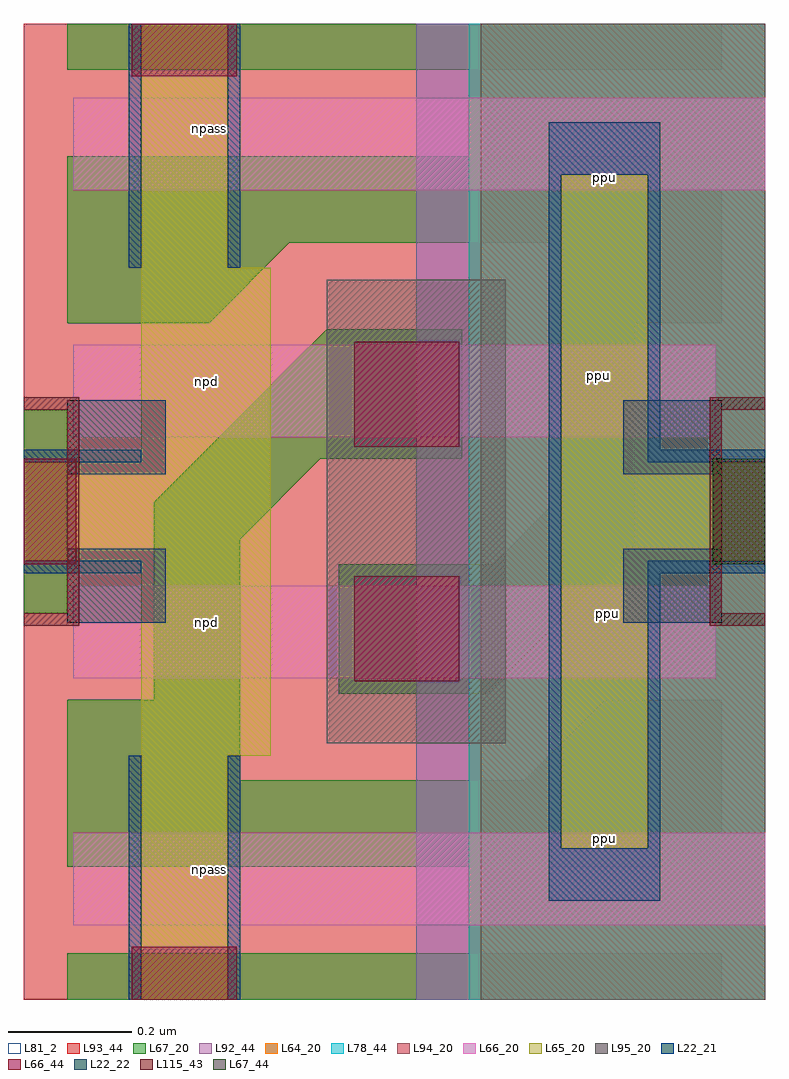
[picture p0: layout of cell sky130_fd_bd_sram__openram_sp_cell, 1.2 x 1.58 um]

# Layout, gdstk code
import gdstk
lib = gdstk.Library(unit=1e-6, precision=1e-09)
def R(c, l, rs):  # rectangles x0, y0, x1, y1
    for r in rs: c.add(gdstk.rectangle(r[:2], r[2:], *l))
def P(c, l, *ps):  # polygons
    for p in ps: c.add(gdstk.Polygon(p, *l))
L22_21 = (22, 21)
L22_22 = (22, 22)
L64_20 = (64, 20)
L65_20 = (65, 20)
L66_20 = (66, 20)
L66_44 = (66, 44)
L67_20 = (67, 20)
L67_44 = (67, 44)
L78_44 = (78, 44)
L81_2 = (81, 2)
L92_44 = (92, 44)
L93_44 = (93, 44)
L94_20 = (94, 20)
L95_20 = (95, 20)
L115_43 = (115, 43)

sky130_fd_bd_sram__openr = lib.new_cell('sky130_fd_bd_sram__openram_sp_cell_fom_serif_pmos')
R(sky130_fd_bd_sram__openr, L22_22, [(0,0,0.16,0.12)])

c_sky130_fd_bd_sram__openr = lib.new_cell('sky130_fd_bd_sram__openram_sp_cell_fom_serif_nmos')
R(c_sky130_fd_bd_sram__openr, L22_22, [(0,0,0.16,0.12)])

c_sky130_fd_bd_sram__openr_ = lib.new_cell('sky130_fd_bd_sram__openram_sp_cell_fom_serifs')
c_sky130_fd_bd_sram__openr_.add(gdstk.Reference(sky130_fd_bd_sram__openr, (0.97,0)))
c_sky130_fd_bd_sram__openr_.add(gdstk.Reference(sky130_fd_bd_sram__openr, (0.97,0.24)))
c_sky130_fd_bd_sram__openr_.add(gdstk.Reference(c_sky130_fd_bd_sram__openr, (0.07,0.24)))
c_sky130_fd_bd_sram__openr_.add(gdstk.Reference(c_sky130_fd_bd_sram__openr, (0.07,0)))

c_sky130_fd_bd_sram__openr__ = lib.new_cell('sky130_fd_bd_sram__openram_sp_cell')
R(c_sky130_fd_bd_sram__openr__, L22_21, [(0.17,0,0.19,0.395), (0.33,0,0.35,0.395), (0,0.69,0.19,0.71), (0,0.87,0.19,0.89), (0.17,1.185,0.19,1.58), (0.33,1.185,0.35,1.58)])
P(c_sky130_fd_bd_sram__openr__, L22_21, [(0.85,0.16),(0.85,1.42),(1.03,1.42),(1.03,0.89),(1.2,0.89),(1.2,0.87),(1.01,0.87),(1.01,1.335),(0.87,1.335),(0.87,0.245),(1.01,0.245),(1.01,0.71),(1.2,0.71),(1.2,0.69),(1.03,0.69),(1.03,0.16)])
R(c_sky130_fd_bd_sram__openr__, L64_20, [(0.72,0,1.2,1.58)])
P(c_sky130_fd_bd_sram__openr__, L65_20, [(0.87,0.245),(0.87,1.335),(1.01,1.335),(1.01,0.87),(1.2,0.87),(1.2,0.71),(1.01,0.71),(1.01,0.245)],
  [(0.19,0),(0.19,0.71),(0,0.71),(0,0.87),(0.19,0.87),(0.19,1.58),(0.33,1.58),(0.33,1.185),(0.4,1.185),(0.4,0.395),(0.33,0.395),(0.33,0)])
R(c_sky130_fd_bd_sram__openr__, L66_20, [(0.08,0.12,1.2,0.27), (0.08,0.52,1.12,0.67), (0.08,0.91,1.12,1.06), (0.08,1.31,1.2,1.46)])
R(c_sky130_fd_bd_sram__openr__, L66_44, [(0.175,0,0.345,0.085), (0.535,0.515,0.705,0.685), (0,0.705,0.085,0.875), (1.115,0.705,1.2,0.875), (0.535,0.895,0.705,1.065), (0.175,1.495,0.345,1.58)])
R(c_sky130_fd_bd_sram__openr__, L67_20, [(0.07,0,1.13,0.075), (0,0.625,0.07,0.955), (1.13,0.625,1.2,0.955), (0.07,1.505,1.13,1.58)])
P(c_sky130_fd_bd_sram__openr__, L67_20, [(0.07,0.215),(0.07,0.485),(0.21,0.485),(0.21,0.805),(0.49,1.085),(0.71,1.085),(0.71,0.875),(0.48,0.875),(0.35,0.745),(0.35,0.355),(0.81,0.355),(0.94,0.485),(1.13,0.485),(1.13,0.215)],
  [(0.51,0.495),(0.51,0.705),(0.76,0.705),(0.85,0.795),(0.85,1.225),(0.43,1.225),(0.3,1.095),(0.07,1.095),(0.07,1.365),(1.13,1.365),(1.13,1.095),(0.99,1.095),(0.99,0.735),(0.75,0.495)])
R(c_sky130_fd_bd_sram__openr__, L67_44, [(1.115,0.705,1.2,0.875)])
R(c_sky130_fd_bd_sram__openr__, L78_44, [(0.72,0,1.2,1.58)])
R(c_sky130_fd_bd_sram__openr__, L81_2, [(0,0,1.2,1.58)])
R(c_sky130_fd_bd_sram__openr__, L92_44, [(0.635,0,1.2,1.58)])
R(c_sky130_fd_bd_sram__openr__, L93_44, [(0,0,0.74,1.58)])
R(c_sky130_fd_bd_sram__openr__, L94_20, [(0.74,0,1.2,1.58)])
R(c_sky130_fd_bd_sram__openr__, L95_20, [(0.49,0.415,0.78,1.165)])
P(c_sky130_fd_bd_sram__openr__, L115_43, [(1.11,0.605),(1.11,0.975),(1.2,0.975),(1.2,0.955),(1.13,0.955),(1.13,0.625),(1.2,0.625),(1.2,0.605)],
  [(0,0.605),(0,0.625),(0.07,0.625),(0.07,0.955),(0,0.955),(0,0.975),(0.09,0.975),(0.09,0.605)])
c_sky130_fd_bd_sram__openr__.add(gdstk.Reference(c_sky130_fd_bd_sram__openr_, (0,0.61)))
c_sky130_fd_bd_sram__openr__.add(gdstk.Label('npass', (0.3,0.21), layer=66, texttype=83))
c_sky130_fd_bd_sram__openr__.add(gdstk.Label('npd', (0.295,0.61), layer=66, texttype=83))
c_sky130_fd_bd_sram__openr__.add(gdstk.Label('npd', (0.295,1), layer=66, texttype=83))
c_sky130_fd_bd_sram__openr__.add(gdstk.Label('npass', (0.3,1.41), layer=66, texttype=83))
c_sky130_fd_bd_sram__openr__.add(gdstk.Label('ppu', (0.93,1.01), layer=66, texttype=83))
c_sky130_fd_bd_sram__openr__.add(gdstk.Label('ppu', (0.945,0.625), layer=66, texttype=83))
c_sky130_fd_bd_sram__openr__.add(gdstk.Label('ppu', (0.94,1.33), layer=66, texttype=83))
c_sky130_fd_bd_sram__openr__.add(gdstk.Label('ppu', (0.94,0.26), layer=66, texttype=83))

lib.write_gds('sky130_fd_bd_sram__openram_sp_cell.gds')
